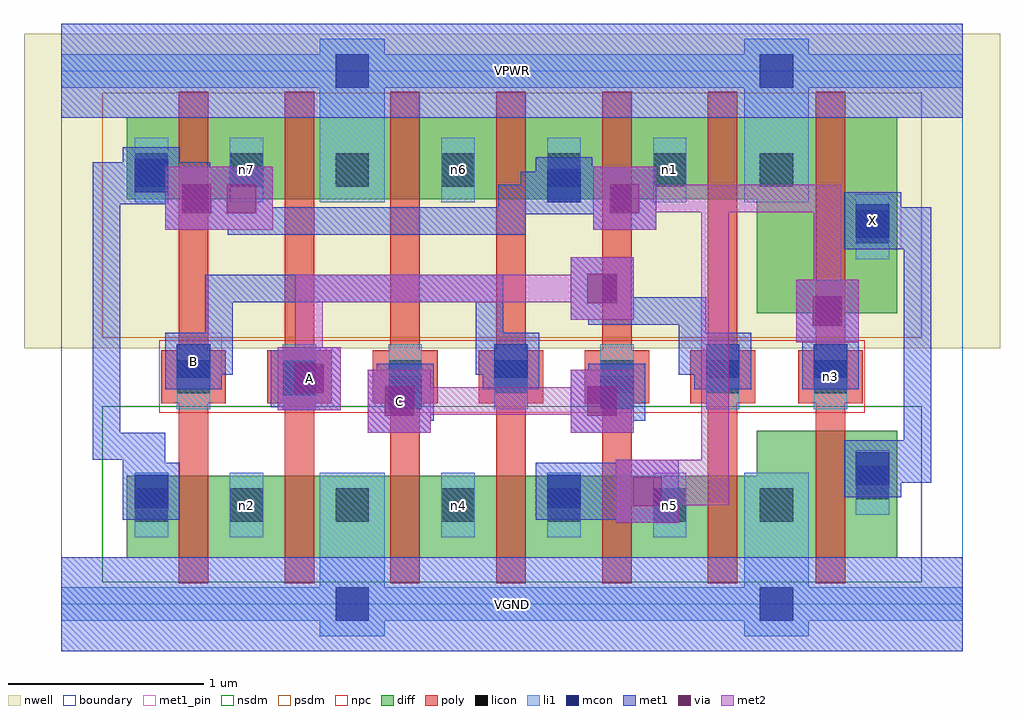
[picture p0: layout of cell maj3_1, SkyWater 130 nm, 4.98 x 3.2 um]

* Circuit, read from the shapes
.subckt maj3_1 A B C VGND VPWR X n1 n2 n3 n4 n5 n6 n7
XM1 n2 B n3 VSUBS sky130_fd_pr__nfet_01v8 w=0.42 l=0.15
XM2 VGND A n2 VSUBS sky130_fd_pr__nfet_01v8 w=0.42 l=0.15
XM3 n4 C VGND VSUBS sky130_fd_pr__nfet_01v8 w=0.42 l=0.15
XM4 n3 B n4 VSUBS sky130_fd_pr__nfet_01v8 w=0.42 l=0.15
XM5 n5 C n3 VSUBS sky130_fd_pr__nfet_01v8 w=0.42 l=0.15
XM6 VGND A n5 VSUBS sky130_fd_pr__nfet_01v8 w=0.42 l=0.15
XM7 X n3 VGND VSUBS sky130_fd_pr__nfet_01v8 w=0.65 l=0.15
XM8 n7 B n3 n8 sky130_fd_pr__pfet_01v8 w=0.42 l=0.15
XM9 VPWR A n7 n8 sky130_fd_pr__pfet_01v8 w=0.42 l=0.15
XM10 n6 C VPWR n8 sky130_fd_pr__pfet_01v8 w=0.42 l=0.15
XM11 n3 B n6 n8 sky130_fd_pr__pfet_01v8 w=0.42 l=0.15
XM12 n1 C n3 n8 sky130_fd_pr__pfet_01v8 w=0.42 l=0.15
XM13 VPWR A n1 n8 sky130_fd_pr__pfet_01v8 w=0.42 l=0.15
XM14 X n3 VPWR n8 sky130_fd_pr__pfet_01v8 w=1 l=0.15
.ends

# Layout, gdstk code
import gdstk
lib = gdstk.Library(unit=1e-6, precision=1e-09)
def R(c, l, rs):  # rectangles x0, y0, x1, y1
    for r in rs: c.add(gdstk.rectangle(r[:2], r[2:], *l))
def A(c, l, x, y, w, h, nx, ny, dx, dy):  # array of equal rectangles
    R(c, l, [(x+i*dx, y+j*dy, x+i*dx+w, y+j*dy+h) for i in range(nx) for j in range(ny)])
nwell = (64, 20)
diff = (65, 20)
poly = (66, 20)
licon = (66, 44)
li1 = (67, 20)
mcon = (67, 44)
met1_pin = (68, 16)
met1 = (68, 20)
via = (68, 44)
met2 = (69, 20)
nsdm = (93, 44)
psdm = (94, 20)
npc = (95, 20)
boundary = (235, 4)

maj3_1 = lib.new_cell('maj3_1')
R(maj3_1, nwell, [(-0.19,1.305,4.79,2.91), (0,1.305,4.6,2.91)])
R(maj3_1, diff, [(0.335,0.235,3.7,0.655), (3.55,0.235,4.265,0.885), (3.55,1.485,4.265,2.485), (0.335,2.065,3.7,2.485)])
A(maj3_1, poly, 0.6, 0.105, 0.15, 2.51, 6, 1, 0.54, 0)
A(maj3_1, poly, 0.51, 1.025, 0.33, 0.27, 6, 1, 0.54, 0)
R(maj3_1, poly, [(3.85,0.105,4,2.615), (3.76,1.025,4.09,1.295)])
A(maj3_1, licon, 0.86, 0.42, 0.17, 0.17, 5, 2, 0.54, 1.71)
A(maj3_1, licon, 0.59, 1.075, 0.17, 0.17, 6, 1, 0.54, 0)
R(maj3_1, licon, [(0.375,0.42,0.545,0.59), (3.565,0.42,3.735,0.59), (4.055,0.535,4.225,0.705), (3.84,1.075,4.01,1.245), (4.055,1.84,4.225,2.01), (0.375,2.13,0.545,2.3), (3.565,2.13,3.735,2.3)])
A(maj3_1, li1, 1.94, 0.34, 0.17, 0.33, 3, 2, 0.54, 1.71)
A(maj3_1, li1, 0.59, 0.995, 0.17, 0.33, 6, 1, 0.54, 0)
R(maj3_1, li1, [(1.32,-0.165,1.65,0.67), (3.485,-0.165,3.815,0.67), (0,-0.085,4.6,0.085), (0.375,0.34,0.545,0.67), (0.86,0.34,1.03,0.67), (4.055,0.455,4.225,0.785), (3.84,0.995,4.01,1.325), (4.055,1.76,4.225,2.09), (0.375,2.05,0.545,2.38), (0.86,2.05,1.03,2.38), (1.32,2.05,1.65,2.885), (3.485,2.05,3.815,2.885), (0,2.635,4.6,2.805)])
R(maj3_1, mcon, [(1.4,-0.085,1.57,0.085), (3.565,-0.085,3.735,0.085), (0.375,0.49,0.545,0.66), (2.48,0.49,2.65,0.66), (4.055,0.605,4.225,0.775), (1.67,0.995,1.84,1.165), (2.75,0.995,2.92,1.165), (1.13,1.065,1.3,1.235), (0.59,1.155,0.76,1.325), (2.21,1.155,2.38,1.325), (3.29,1.155,3.46,1.325), (3.84,1.155,4.01,1.325), (4.055,1.87,4.225,2.04), (2.48,2.05,2.65,2.22), (0.375,2.1,0.545,2.27), (1.4,2.635,1.57,2.805), (3.565,2.635,3.735,2.805)])
R(maj3_1, met1_pin, [(0,-0.24,4.6,0.24), (1.565,0.875,1.885,1.195), (1.105,0.99,1.425,1.31), (0.53,1.095,0.82,1.385), (3.995,1.81,4.285,2.1), (0,2.48,4.6,2.96)])
R(maj3_1, met1, [(0,-0.24,4.6,0.24), (2.83,0.415,3.15,0.735), (0.315,0.43,0.605,0.72), (2.42,0.43,2.71,0.72), (2.71,0.43,2.83,0.72), (0.39,0.505,0.53,0.875), (2.495,0.505,2.83,0.645), (2.69,0.505,3.06,0.645), (3.995,0.545,4.285,0.835), (4.07,0.62,4.44,0.76), (4.285,0.62,4.3,0.835), (4.3,0.62,4.44,2.025), (0.315,0.72,0.53,0.735), (0.16,0.735,0.53,0.875), (0.16,0.735,0.3,2.255), (1.565,0.875,1.885,1.195), (2.6,0.875,2.92,1.195), (1.61,0.935,1.9,1.225), (2.69,0.935,2.98,1.225), (1.655,0.965,1.795,1.15), (2.69,0.965,2.83,1.15), (1.105,0.99,1.425,1.31), (1.07,1.005,1.36,1.295), (1.655,1.01,1.825,1.15), (2.69,1.01,2.905,1.15), (1.145,1.08,1.335,1.22), (0.53,1.095,0.82,1.385), (2.15,1.095,2.44,1.385), (3.23,1.095,3.52,1.385), (3.78,1.095,4.07,1.385), (0.605,1.17,0.875,1.31), (0.735,1.17,0.875,1.45), (2.115,1.17,2.255,1.45), (2.115,1.17,2.365,1.31), (3.15,1.17,3.29,1.45), (3.15,1.17,3.445,1.31), (3.84,1.17,3.98,1.45), (3.84,1.17,3.995,1.31), (0.735,1.31,0.875,1.68), (2.115,1.31,2.255,1.68), (3.15,1.31,3.29,1.565), (3.84,1.31,3.98,1.565), (3.75,1.335,4.07,1.655), (2.69,1.425,2.83,1.68), (2.69,1.425,3.29,1.565), (2.6,1.45,2.92,1.77), (0.735,1.54,2.255,1.68), (3.995,1.81,4.285,2.1), (4.285,1.81,4.3,2.025), (0.85,1.885,2.37,2.025), (0.85,1.885,0.99,2.14), (2.23,1.885,2.37,2.14), (4.07,1.885,4.44,2.025), (0.53,1.91,0.85,2.23), (0.76,1.91,1.08,2.23), (2.715,1.91,3.035,2.23), (2.37,1.99,2.42,2.025), (2.37,1.99,2.42,2.14), (2.42,1.99,2.71,2.28), (2.71,1.99,2.715,2.23), (0.62,2,0.76,2.255), (2.23,2,2.485,2.14), (2.345,2,2.945,2.14), (2.345,2,2.485,2.205), (0.3,2.04,0.315,2.255), (0.315,2.04,0.605,2.33), (0.605,2.04,0.62,2.255), (2.345,2.065,2.635,2.205), (2.635,2.065,2.715,2.205), (0.16,2.115,0.53,2.255), (0.39,2.115,0.76,2.255), (0,2.48,4.6,2.96)])
R(maj3_1, via, [(2.915,0.5,3.065,0.65), (1.65,0.96,1.8,1.11), (2.685,0.96,2.835,1.11), (1.19,1.075,1.34,1.225), (3.835,1.42,3.985,1.57), (2.685,1.535,2.835,1.685), (0.615,1.995,0.765,2.145), (0.845,1.995,0.995,2.145), (2.8,1.995,2.95,2.145)])
R(maj3_1, met2, [(2.83,0.415,3.15,0.735), (2.92,0.505,3.405,0.645), (3.15,0.505,3.265,0.735), (3.265,0.505,3.405,2.14), (1.565,0.875,1.885,1.195), (2.6,0.875,2.92,1.195), (1.655,0.965,2.83,1.105), (1.105,0.99,1.425,1.31), (1.195,1.08,1.335,1.68), (3.75,1.335,4.07,1.655), (3.84,1.425,3.98,2.14), (2.6,1.45,2.92,1.77), (1.195,1.54,2.83,1.68), (0.53,1.91,0.85,2.23), (0.76,1.91,1.08,2.23), (2.715,1.91,3.035,2.23), (0.62,2,0.99,2.14), (2.805,2,3.98,2.14)])
R(maj3_1, nsdm, [(0.21,0.11,4.39,1.01)])
R(maj3_1, psdm, [(0.21,1.36,4.39,2.61)])
R(maj3_1, npc, [(0.5,0.975,4.1,1.345)])
R(maj3_1, boundary, [(0,0,4.6,2.72)])
maj3_1.add(gdstk.Label('n3', (3.925,1.16), layer=67, texttype=5))
maj3_1.add(gdstk.Label('n2', (0.945,0.505), layer=67, texttype=5))
maj3_1.add(gdstk.Label('n4', (2.025,0.505), layer=67, texttype=5))
maj3_1.add(gdstk.Label('n5', (3.105,0.505), layer=67, texttype=5))
maj3_1.add(gdstk.Label('n7', (0.945,2.215), layer=67, texttype=5))
maj3_1.add(gdstk.Label('n6', (2.025,2.215), layer=67, texttype=5))
maj3_1.add(gdstk.Label('n1', (3.105,2.215), layer=67, texttype=5))
maj3_1.add(gdstk.Label('A', (1.265,1.15), layer=68, texttype=5))
maj3_1.add(gdstk.Label('B', (0.675,1.24), layer=68, texttype=5))
maj3_1.add(gdstk.Label('C', (1.725,1.035), layer=68, texttype=5))
maj3_1.add(gdstk.Label('X', (4.14,1.955), layer=68, texttype=5))
maj3_1.add(gdstk.Label('VPWR', (2.3,2.72), layer=68, texttype=5))
maj3_1.add(gdstk.Label('VGND', (2.3,0), layer=68, texttype=5))
maj3_1.add(gdstk.Label('A', (1.265,1.15), layer=68, texttype=16))
maj3_1.add(gdstk.Label('B', (0.675,1.24), layer=68, texttype=16))
maj3_1.add(gdstk.Label('C', (1.725,1.035), layer=68, texttype=16))
maj3_1.add(gdstk.Label('X', (4.14,1.955), layer=68, texttype=16))
maj3_1.add(gdstk.Label('VPWR', (2.3,2.72), layer=68, texttype=16))
maj3_1.add(gdstk.Label('VGND', (2.3,0), layer=68, texttype=16))

lib.write_gds('maj3_1.gds')
